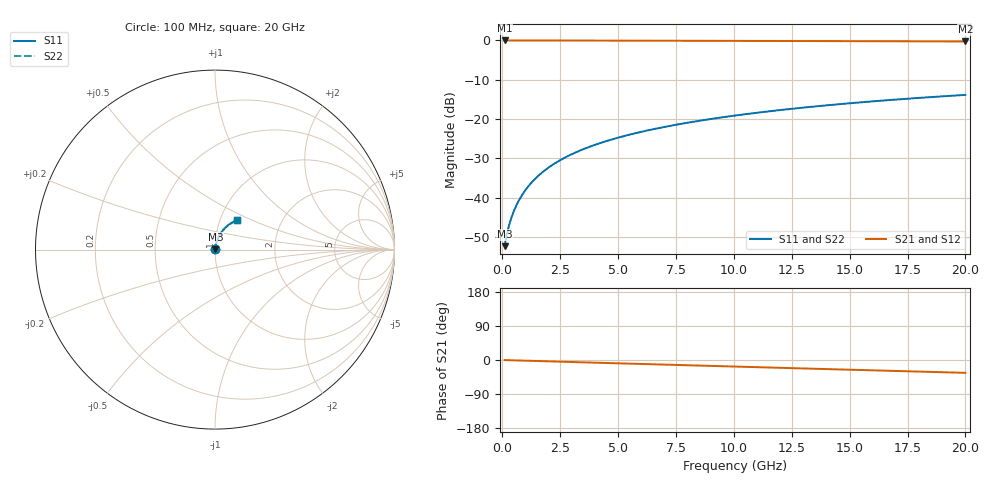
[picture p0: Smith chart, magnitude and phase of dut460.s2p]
! Touchstone file exported from HFSS 2026.1.0
!  File:  C:/ffzhzh/LocalFiles/Ansys_Project_Files/temp_train_BSMRDL_460_1783013467_4048.aedt
!  Generated:  01:32:29 AM Jul  3, 2026
!  Design:  BSMRDL
!  Project:  temp_train_BSMRDL_460_1783013467_4048
! Variables:
!  h_bsmrdl = 4.78um
!  h_ox = 20um
!  h_rdl = 5um
!  h_sub = 80um
!  h_tmrdl = 5um
!  h_tsv = 80um
!  h_via = 3um
!  l_bsmrdl = 551.83um
!  l_sub = 951.83um
!  l_tmrdl = 200um
!  m_sub = 200um
!  pitch = 37.98um
!  r_tsv = 6um
!  s_tmrdl = 10um
!  w_bsmrdl = 23.89um
!  w_sub = 500um
!  w_tmrdl = 12um
!  x_tsv_center1 = 206um
!  x_tsv_center2 = 781.72um
!  x_tsv_center3 = 993.72um
!  x_tsv_center4 = 1569.44um
!  x_tsv_center5 = 1781.44um
!  x_tsv_center6 = 2357.16um
# GHz S MA R 50.000000
! Terminal data exported
! Port[1] = BSM_RDL1_1_T1
! Port[2] = BSM_RDL1_1_T2
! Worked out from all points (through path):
!   200 points, 100 MHz to 20 GHz, reference 50 ohm
!   highest |S21| = -0.02 dB at 100 MHz (marker M1); lowest = -0.3 dB at 20 GHz (marker M2)
!   group delay of S21, straight-line fit = 4.69 ps
!   lowest |S11| = -52.3 dB at 100 MHz (marker M3), VSWR 1.00, Z = 50.2 + j0.145 ohm
!   |S11| at or under -10 dB: start of sweep to end of sweep
!   |S22| runs from -52.3 to -13.9 dB; largest |S21 - S12| = 3.6e-15
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0.1  0.002416 36.8  0.9981 -0.2  0.9981 -0.2  0.002416 36.8
! Gamma 0 0 0 0
! Port Impedance 50 0 50 0
0.2  0.003471 52.0  0.9979 -0.4  0.9979 -0.4  0.003471 52.0
0.3  0.004552 59.7  0.9977 -0.6  0.9977 -0.6  0.004552 59.7
0.4  0.00564 64.6  0.9976 -0.7  0.9976 -0.7  0.00564 64.6
0.5  0.006746 68.0  0.9976 -0.9  0.9976 -0.9  0.006745 68.0
0.6  0.007869 70.6  0.9975 -1.1  0.9975 -1.1  0.007869 70.6
0.8  0.01016 73.9  0.9974 -1.4  0.9974 -1.4  0.01016 73.9
1.1  0.01365 76.6  0.9972 -2.0  0.9972 -2.0  0.01365 76.6
1.3  0.01599 77.6  0.9971 -2.3  0.9971 -2.3  0.01599 77.6
1.6  0.0195 78.5  0.9969 -2.9  0.9969 -2.9  0.0195 78.5
2.1  0.02534 78.9  0.9964 -3.7  0.9964 -3.7  0.02534 78.9
2.7  0.03226 78.7  0.9958 -4.8  0.9958 -4.8  0.03226 78.7
3.5  0.04134 78.0  0.9949 -6.2  0.9949 -6.2  0.04134 78.0
4.2  0.04914 77.1  0.9941 -7.4  0.9941 -7.4  0.04914 77.1
5  0.05792 76.0  0.9931 -8.8  0.9931 -8.8  0.05792 76.0
5.9  0.06763 74.7  0.9919 -10.3  0.9919 -10.3  0.06763 74.7
6.8  0.0772 73.4  0.9907 -11.9  0.9907 -11.9  0.07719 73.4
8.3  0.09285 71.2  0.9886 -14.4  0.9886 -14.4  0.09285 71.2
10.1  0.1112 68.5  0.9859 -17.5  0.9859 -17.5  0.1112 68.5
13.4  0.1436 63.4  0.9806 -23.0  0.9806 -23.0  0.1436 63.4
16.7  0.1742 58.3  0.9747 -28.5  0.9747 -28.5  0.1742 58.3
20  0.2027 53.2  0.9685 -33.9  0.9685 -33.9  0.2027 53.2
